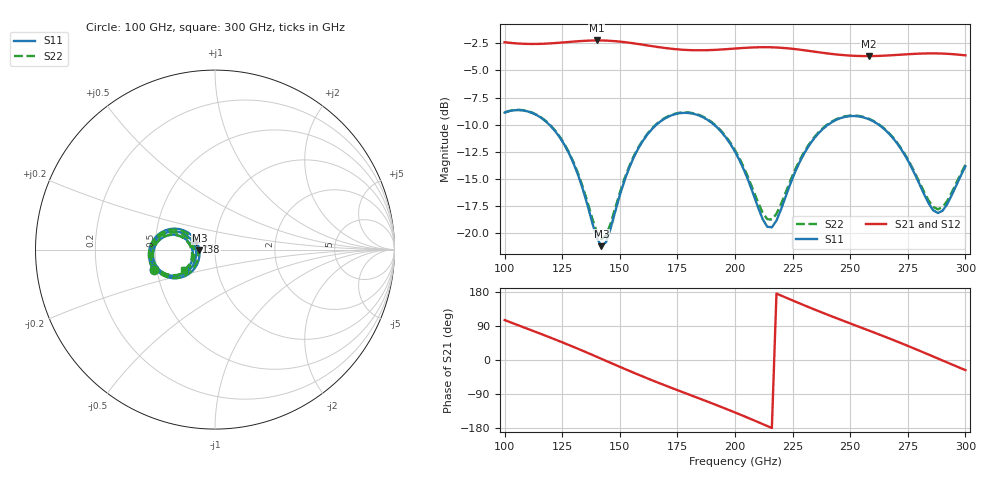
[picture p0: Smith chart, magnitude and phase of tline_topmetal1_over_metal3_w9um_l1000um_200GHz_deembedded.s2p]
! Created with skrf 2.2.0 (http://scikit-rf.org).
# GHz S DB R 50.0
! Port[1] = P1
! Port[2] = P2
!freq dBS11 angS11 dBS21 angS21 dBS12 angS12 dBS22 angS22
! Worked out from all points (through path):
!   101 points, 100 GHz to 300 GHz, reference 50 ohm
!   highest |S21| = -2.24 dB at 140 GHz (marker M1); lowest = -3.7 dB at 258 GHz (marker M2)
!   group delay of S21, straight-line fit = 6.84 ps
!   lowest |S11| = -21.2 dB at 142 GHz (marker M3), VSWR 1.19, Z = 42 - j0.322 ohm
!   |S11| at or under -10 dB: 119.4 GHz to 165.9 GHz (46.44 GHz wide, 32.6 % of centre); 190.9 GHz to 240.4 GHz (49.46 GHz wide, 22.9 % of centre); 262.4 GHz to end of sweep
!   |S22| runs from -20.5 to -8.6 dB; largest |S21 - S12| = 8.3e-14
!   S11 on the Smith chart (normalised r, x): 100 GHz: 0.48, -0.12; 138 GHz: 0.81, +0.07; 300 GHz: 0.70, -0.17
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100  -8.88 -162.1  -2.40 105.4  -2.40 105.4  -8.86 -161.7
108  -8.68 -177.1  -2.55 86.8  -2.55 86.8  -8.66 -176.4
118  -9.71 165.1  -2.53 63.6  -2.53 63.6  -9.67 166.1
126  -11.86 152.8  -2.41 44.3  -2.41 44.3  -11.78 154.3
134  -15.96 148.2  -2.28 24.1  -2.28 24.1  -15.76 150.4
138  -18.98 156.6  -2.25 13.7  -2.25 13.7  -18.58 159.0
140  -20.41 167.2  -2.24 8.4  -2.24 8.4  -19.86 169.1
142  -21.17 -177.5  -2.24 3.1  -2.24 3.1  -20.52 -176.8
154  -14.01 -137.1  -2.45 -28.4  -2.45 -28.4  -13.87 -138.2
168  -9.64 -155.8  -2.89 -63.1  -2.89 -63.1  -9.58 -155.9
184  -9.11 177.3  -3.15 -100.3  -3.15 -100.3  -9.06 177.9
200  -12.47 155.0  -2.98 -138.5  -2.98 -138.5  -12.33 156.6
212  -18.68 168.3  -2.86 -169.0  -2.86 -169.0  -18.08 170.1
216  -19.43 -169.0  -2.87 -179.5  -2.87 -179.5  -18.72 -169.4
224  -15.45 -142.4  -2.99 159.8  -2.99 159.8  -15.16 -144.6
234  -11.35 -147.3  -3.26 134.5  -3.26 134.5  -11.25 -148.6
246  -9.37 -164.5  -3.57 105.8  -3.57 105.8  -9.32 -165.1
258  -9.48 177.2  -3.68 78.0  -3.68 78.0  -9.43 177.0
268  -11.08 163.8  -3.60 54.4  -3.60 54.4  -11.02 164.1
278  -14.51 159.0  -3.47 29.7  -3.47 29.7  -14.38 159.8
288  -18.12 -174.1  -3.44 4.1  -3.44 4.1  -17.78 -174.2
300  -13.83 -145.5  -3.61 -26.7  -3.61 -26.7  -13.69 -146.6
